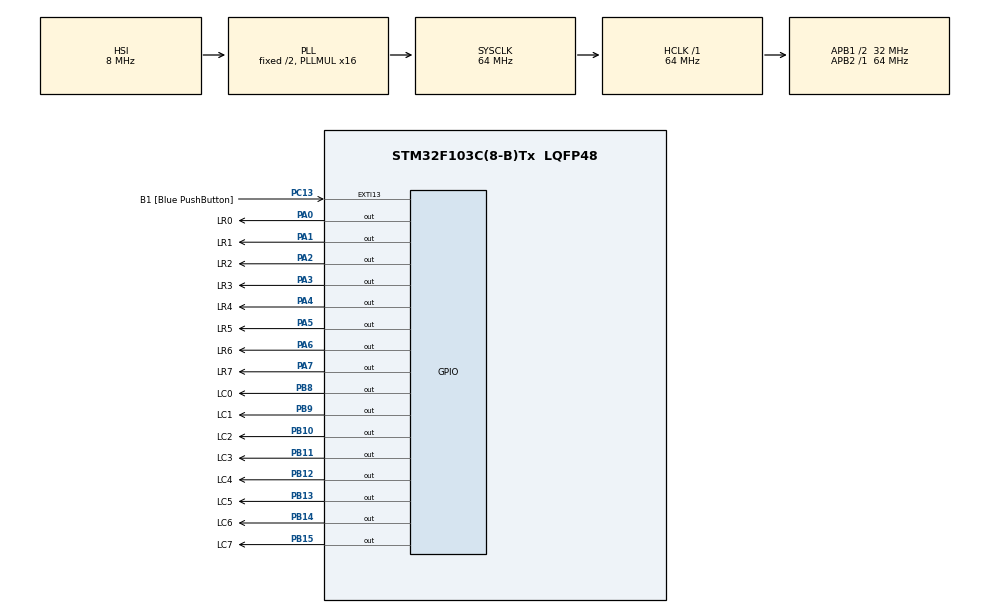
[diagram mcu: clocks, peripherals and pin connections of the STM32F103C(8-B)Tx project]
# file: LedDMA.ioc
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Dma.MEMTOMEM.0.Direction=DMA_MEMORY_TO_MEMORY
Dma.MEMTOMEM.0.Instance=DMA1_Channel1
Dma.MEMTOMEM.0.MemDataAlignment=DMA_MDATAALIGN_BYTE
Dma.MEMTOMEM.0.MemInc=DMA_MINC_DISABLE
Dma.MEMTOMEM.0.Mode=DMA_NORMAL
Dma.MEMTOMEM.0.PeriphDataAlignment=DMA_PDATAALIGN_BYTE
Dma.MEMTOMEM.0.PeriphInc=DMA_PINC_ENABLE
Dma.MEMTOMEM.0.Priority=DMA_PRIORITY_MEDIUM
Dma.MEMTOMEM.1.Direction=DMA_MEMORY_TO_MEMORY
Dma.MEMTOMEM.1.Instance=DMA1_Channel2
Dma.MEMTOMEM.1.MemDataAlignment=DMA_MDATAALIGN_HALFWORD
Dma.MEMTOMEM.1.MemInc=DMA_MINC_DISABLE
Dma.MEMTOMEM.1.Mode=DMA_NORMAL
Dma.MEMTOMEM.1.PeriphDataAlignment=DMA_PDATAALIGN_HALFWORD
Dma.MEMTOMEM.1.PeriphInc=DMA_PINC_ENABLE
Dma.MEMTOMEM.1.Priority=DMA_PRIORITY_MEDIUM
Dma.Request0=MEMTOMEM
Dma.Request1=MEMTOMEM
Mcu.Family=STM32F1
Mcu.Name=STM32F103C(8-B)Tx
Mcu.Package=LQFP48
NVIC.EXTI15_10_IRQn=true\:0\:0\:false\:false\:true
NVIC.PriorityGroup=NVIC_PRIORITYGROUP_4
PA0-WKUP.GPIO_Label=LR0
PA0-WKUP.Signal=GPIO_Output
PA1.GPIO_Label=LR1
PA1.Signal=GPIO_Output
PA13.Mode=Serial_Wire
PA13.Signal=SYS_JTMS-SWDIO
PA14.Mode=Serial_Wire
PA14.Signal=SYS_JTCK-SWCLK
PA2.GPIO_Label=LR2
PA2.Signal=GPIO_Output
PA3.GPIO_Label=LR3
PA3.Signal=GPIO_Output
PA4.GPIO_Label=LR4
PA4.Signal=GPIO_Output
PA5.GPIO_Label=LR5
PA5.Signal=GPIO_Output
PA6.GPIO_Label=LR6
PA6.Signal=GPIO_Output
PA7.GPIO_Label=LR7
PA7.Signal=GPIO_Output
PB10.GPIO_Label=LC2
PB10.Signal=GPIO_Output
PB11.GPIO_Label=LC3
PB11.Signal=GPIO_Output
PB12.GPIO_Label=LC4
PB12.Signal=GPIO_Output
PB13.GPIO_Label=LC5
PB13.Signal=GPIO_Output
PB14.GPIO_Label=LC6
PB14.Signal=GPIO_Output
PB15.GPIO_Label=LC7
PB15.Signal=GPIO_Output
PB8.GPIO_Label=LC0
PB8.Signal=GPIO_Output
PB9.GPIO_Label=LC1
PB9.Signal=GPIO_Output
PC13-TAMPER-RTC.GPIO_Label=B1 [Blue PushButton]
PC13-TAMPER-RTC.GPIO_ModeDefaultEXTI=GPIO_MODE_IT_FALLING
PC13-TAMPER-RTC.GPIO_PuPd=GPIO_NOPULL
PC13-TAMPER-RTC.Signal=GPXTI13
PC14-OSC32_IN.Mode=LSE-External-Oscillator
PC14-OSC32_IN.Signal=RCC_OSC32_IN
PC15-OSC32_OUT.Mode=LSE-External-Oscillator
PC15-OSC32_OUT.Signal=RCC_OSC32_OUT
PD0-OSC_IN.Mode=HSE-External-Oscillator
PD0-OSC_IN.Signal=RCC_OSC_IN
PD1-OSC_OUT.Mode=HSE-External-Oscillator
PD1-OSC_OUT.Signal=RCC_OSC_OUT
ProjectManager.HeapSize=0x200
ProjectManager.StackSize=0x400
ProjectManager.TargetToolchain=Makefile
RCC.AHBFreq_Value=64000000
RCC.APB1CLKDivider=RCC_HCLK_DIV2
RCC.APB1Freq_Value=32000000
RCC.APB1TimFreq_Value=64000000
RCC.APB2Freq_Value=64000000
RCC.APB2TimFreq_Value=64000000
RCC.HCLKFreq_Value=64000000
RCC.PLLMUL=RCC_PLL_MUL16
RCC.SYSCLKFreq_VALUE=64000000
RCC.SYSCLKSource=RCC_SYSCLKSOURCE_PLLCLK
RCC.USBFreq_Value=64000000
board=LedDMA

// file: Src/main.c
/**
  ******************************************************************************
  * File Name          : main.c
  * Description        : Main program body
  ******************************************************************************
  ** This notice applies to any and all portions of this file
  * that are not between comment pairs USER CODE BEGIN and
  * USER CODE END. Other portions of this file, whether
  * inserted by the user or by software development tools
  * are owned by their respective copyright owners.
  *
  * COPYRIGHT(c) 2018 STMicroelectronics
  *
  * Redistribution and use in source and binary forms, with or without modification,
  * are permitted provided that the following conditions are met:
  *   1. Redistributions of source code must retain the above copyright notice,
  *      this list of conditions and the following disclaimer.
  *   2. Redistributions in binary form must reproduce the above copyright notice,
  *      this list of conditions and the following disclaimer in the documentation
  *      and/or other materials provided with the distribution.
  *   3. Neither the name of STMicroelectronics nor the names of its contributors
  *      may be used to endorse or promote products derived from this software
  *      without specific prior written permission.
  *
  * THIS SOFTWARE IS PROVIDED BY THE COPYRIGHT HOLDERS AND CONTRIBUTORS "AS IS"
  * AND ANY EXPRESS OR IMPLIED WARRANTIES, INCLUDING, BUT NOT LIMITED TO, THE
  * IMPLIED WARRANTIES OF MERCHANTABILITY AND FITNESS FOR A PARTICULAR PURPOSE ARE
  * DISCLAIMED. IN NO EVENT SHALL THE COPYRIGHT HOLDER OR CONTRIBUTORS BE LIABLE
  * FOR ANY DIRECT, INDIRECT, INCIDENTAL, SPECIAL, EXEMPLARY, OR CONSEQUENTIAL
  * DAMAGES (INCLUDING, BUT NOT LIMITED TO, PROCUREMENT OF SUBSTITUTE GOODS OR
  * SERVICES; LOSS OF USE, DATA, OR PROFITS; OR BUSINESS INTERRUPTION) HOWEVER
  * CAUSED AND ON ANY THEORY OF LIABILITY, WHETHER IN CONTRACT, STRICT LIABILITY,
  * OR TORT (INCLUDING NEGLIGENCE OR OTHERWISE) ARISING IN ANY WAY OUT OF THE USE
  * OF THIS SOFTWARE, EVEN IF ADVISED OF THE POSSIBILITY OF SUCH DAMAGE.
  *
  ******************************************************************************
  */
#include "main.h"
#include "stm32f1xx_hal.h"
#include "dma.h"
#include "gpio.h"

/* USER CODE BEGIN PV */
/* Private variables ---------------------------------------------------------*/

/* USER CODE END PV */

void SystemClock_Config(void);

/* USER CODE BEGIN PFP */
/* Private function prototypes -----------------------------------------------*/
#define DELAYTIME 20
/* USER CODE END PFP */

/* USER CODE BEGIN 0 */
// I use PB_8 to P_B15 instead of P_B0 to P_B7, so 0x0100 instead of 0x03.
const uint16_t iobuffer64[512] =
{
  0x0100, 0x0100, 0x0100, 0x0100, 0x0100, 0x0100, 0x0100, 0x0100, 0x0100, 0x0100, 0x0100, 0x0100, 0x0100, 0x0100, 0x0100, 0x0100,0x0100, 0x0100, 0x0100, 0x0100, 0x0100, 0x0100, 0x0100, 0x0100, 0x0100, 0x0100, 0x0100, 0x0100, 0x0100, 0x0100, 0x0100, 0x0100,0x0100, 0x0100, 0x0100, 0x0100, 0x0100, 0x0100, 0x0100, 0x0100, 0x0100, 0x0100, 0x0100, 0x0100, 0x0100, 0x0100, 0x0100, 0x0100,0x0100, 0x0100, 0x0100, 0x0100, 0x0100, 0x0100, 0x0100, 0x0100, 0x0100, 0x0100, 0x0100, 0x0100, 0x0100, 0x0100, 0x0100, 0x0100,
  0x0200, 0x0200, 0x0200, 0x0200, 0x0200, 0x0200, 0x0200, 0x0200, 0x0200, 0x0200, 0x0200, 0x0200, 0x0200, 0x0200, 0x0200, 0x0200,0x0200, 0x0200, 0x0200, 0x0200, 0x0200, 0x0200, 0x0200, 0x0200, 0x0200, 0x0200, 0x0200, 0x0200, 0x0200, 0x0200, 0x0200, 0x0200,0x0200, 0x0200, 0x0200, 0x0200, 0x0200, 0x0200, 0x0200, 0x0200, 0x0200, 0x0200, 0x0200, 0x0200, 0x0200, 0x0200, 0x0200, 0x0200,0x0200, 0x0200, 0x0200, 0x0200, 0x0200, 0x0200, 0x0200, 0x0200, 0x0200, 0x0200, 0x0200, 0x0200, 0x0200, 0x0200, 0x0200, 0x0200,
  0x0400, 0x0400, 0x0400, 0x0400, 0x0400, 0x0400, 0x0400, 0x0400, 0x0400, 0x0400, 0x0400, 0x0400, 0x0400, 0x0400, 0x0400, 0x0400,0x0400, 0x0400, 0x0400, 0x0400, 0x0400, 0x0400, 0x0400, 0x0400, 0x0400, 0x0400, 0x0400, 0x0400, 0x0400, 0x0400, 0x0400, 0x0400,0x0400, 0x0400, 0x0400, 0x0400, 0x0400, 0x0400, 0x0400, 0x0400, 0x0400, 0x0400, 0x0400, 0x0400, 0x0400, 0x0400, 0x0400, 0x0400,0x0400, 0x0400, 0x0400, 0x0400, 0x0400, 0x0400, 0x0400, 0x0400, 0x0400, 0x0400, 0x0400, 0x0400, 0x0400, 0x0400, 0x0400, 0x0400,
  0x0800, 0x0800, 0x0800, 0x0800, 0x0800, 0x0800, 0x0800, 0x0800, 0x0800, 0x0800, 0x0800, 0x0800, 0x0800, 0x0800, 0x0800, 0x0800,0x0800, 0x0800, 0x0800, 0x0800, 0x0800, 0x0800, 0x0800, 0x0800, 0x0800, 0x0800, 0x0800, 0x0800, 0x0800, 0x0800, 0x0800, 0x0800,0x0800, 0x0800, 0x0800, 0x0800, 0x0800, 0x0800, 0x0800, 0x0800, 0x0800, 0x0800, 0x0800, 0x0800, 0x0800, 0x0800, 0x0800, 0x0800,0x0800, 0x0800, 0x0800, 0x0800, 0x0800, 0x0800, 0x0800, 0x0800, 0x0800, 0x0800, 0x0800, 0x0800, 0x0800, 0x0800, 0x0800, 0x0800,
  0x1000, 0x1000, 0x1000, 0x1000, 0x1000, 0x1000, 0x1000, 0x1000, 0x1000, 0x1000, 0x1000, 0x1000, 0x1000, 0x1000, 0x1000, 0x1000,0x1000, 0x1000, 0x1000, 0x1000, 0x1000, 0x1000, 0x1000, 0x1000, 0x1000, 0x1000, 0x1000, 0x1000, 0x1000, 0x1000, 0x1000, 0x1000,0x1000, 0x1000, 0x1000, 0x1000, 0x1000, 0x1000, 0x1000, 0x1000, 0x1000, 0x1000, 0x1000, 0x1000, 0x1000, 0x1000, 0x1000, 0x1000,0x1000, 0x1000, 0x1000, 0x1000, 0x1000, 0x1000, 0x1000, 0x1000, 0x1000, 0x1000, 0x1000, 0x1000, 0x1000, 0x1000, 0x1000, 0x1000,
  0x2000, 0x2000, 0x2000, 0x2000, 0x2000, 0x2000, 0x2000, 0x2000, 0x2000, 0x2000, 0x2000, 0x2000, 0x2000, 0x2000, 0x2000, 0x2000,0x2000, 0x2000, 0x2000, 0x2000, 0x2000, 0x2000, 0x2000, 0x2000, 0x2000, 0x2000, 0x2000, 0x2000, 0x2000, 0x2000, 0x2000, 0x2000,0x2000, 0x2000, 0x2000, 0x2000, 0x2000, 0x2000, 0x2000, 0x2000, 0x2000, 0x2000, 0x2000, 0x2000, 0x2000, 0x2000, 0x2000, 0x2000,0x2000, 0x2000, 0x2000, 0x2000, 0x2000, 0x2000, 0x2000, 0x2000, 0x2000, 0x2000, 0x2000, 0x2000, 0x2000, 0x2000, 0x2000, 0x2000,
  0x4000, 0x4000, 0x4000, 0x4000, 0x4000, 0x4000, 0x4000, 0x4000, 0x4000, 0x4000, 0x4000, 0x4000, 0x4000, 0x4000, 0x4000, 0x4000,0x4000, 0x4000, 0x4000, 0x4000, 0x4000, 0x4000, 0x4000, 0x4000, 0x4000, 0x4000, 0x4000, 0x4000, 0x4000, 0x4000, 0x4000, 0x4000,0x4000, 0x4000, 0x4000, 0x4000, 0x4000, 0x4000, 0x4000, 0x4000, 0x4000, 0x4000, 0x4000, 0x4000, 0x4000, 0x4000, 0x4000, 0x4000,0x4000, 0x4000, 0x4000, 0x4000, 0x4000, 0x4000, 0x4000, 0x4000, 0x4000, 0x4000, 0x4000, 0x4000, 0x4000, 0x4000, 0x4000, 0x4000,
  0x8000, 0x8000, 0x8000, 0x8000, 0x8000, 0x8000, 0x8000, 0x8000, 0x8000, 0x8000, 0x8000, 0x8000, 0x8000, 0x8000, 0x8000, 0x8000,0x8000, 0x8000, 0x8000, 0x8000, 0x8000, 0x8000, 0x8000, 0x8000, 0x8000, 0x8000, 0x8000, 0x8000, 0x8000, 0x8000, 0x8000, 0x8000,0x8000, 0x8000, 0x8000, 0x8000, 0x8000, 0x8000, 0x8000, 0x8000, 0x8000, 0x8000, 0x8000, 0x8000, 0x8000, 0x8000, 0x8000, 0x8000,0x8000, 0x8000, 0x8000, 0x8000, 0x8000, 0x8000, 0x8000, 0x8000, 0x8000, 0x8000, 0x8000, 0x8000, 0x8000, 0x8000, 0x8000, 0x8000
};

uint8_t bufin[8][8] =
{
  {0x03,0x05,0x7,0x10,0x19,0x1F,0x2F,0x3F},
  {0x03,0x05,0x7,0x10,0x19,0x1F,0x2F,0x3F},
  {0x03,0x05,0x7,0x10,0x19,0x1F,0x2F,0x3F},
  {0x03,0x05,0x7,0x10,0x19,0x1F,0x2F,0x3F},
  {0x03,0x05,0x7,0x10,0x19,0x1F,0x2F,0x3F},
  {0x03,0x05,0x7,0x10,0x19,0x1F,0x2F,0x3F},
  {0x03,0x05,0x7,0x10,0x19,0x1F,0x2F,0x3F},
  {0x03,0x05,0x7,0x10,0x19,0x1F,0x2F,0x3F}
};

uint8_t bufout[512] = {0};

// Converts the normal 8*8 array to one that the DMA understands.
void convertarray(uint8_t arrout[], uint8_t arrin[], uint8_t X, uint8_t Y, uint8_t bits)
{
  uint64_t TempArr[8] = {0};
  uint16_t bitsPow2 = 1<<bits;
  uint16_t bitsPowminus = bitsPow2-1;

  for(int x = 0; x < 8; x++)
  {
    for(int i = 0; i < 8; i++)
    {
      TempArr[i] = (((uint64_t)1<<(uint64_t)arrin[(x*8)+i])-1);
    }
    //--
    for(int i = 0; i < bitsPow2; i++)
    {
      arrout[(x*bitsPow2)+i] = ((TempArr[0]>>(bitsPowminus-i)&1)<<7);
      arrout[(x*bitsPow2)+i] += ((TempArr[1]>>(bitsPowminus-i)&1)<<6);
      arrout[(x*bitsPow2)+i] += ((TempArr[2]>>(bitsPowminus-i)&1)<<5);
      arrout[(x*bitsPow2)+i] += ((TempArr[3]>>(bitsPowminus-i)&1)<<4);
      arrout[(x*bitsPow2)+i] += ((TempArr[4]>>(bitsPowminus-i)&1)<<3);
      arrout[(x*bitsPow2)+i] += ((TempArr[5]>>(bitsPowminus-i)&1)<<2);
      arrout[(x*bitsPow2)+i] += ((TempArr[6]>>(bitsPowminus-i)&1)<<1);
      arrout[(x*bitsPow2)+i] += ((TempArr[7]>>(bitsPowminus-i)&1));
    }
    //--
  }
  //--
}

//--
// Shift all datapoints in the 8*8 array one place left.
void left_rotate(uint8_t array[8][8])
{
  for(int i = 0; i < 8; i++)
  {
    uint8_t temp = array[i][0];
    for(int n = 0; n < 8; n++)
    {
      array[i][n] = array[i][n+1];
    }
    //--
    array[i][7] = temp;
  }
}

//--
void calcpulse(uint8_t array[8][8])
{
  static uint8_t rings[4] = {60, 50, 40, 30};
  for(int i = 0; i < 4; i++)
  {
    rings[i]--;
    if(rings[i] == 15)
    {
      rings[i] = 64;
    }
    //--
  }
  //--
  for(int i = 0; i < 8*8; i++)
  {
    array[i/8][i%8] = rings[0];
  }
  //--
  for(int i = 0; i < 6*6; i++)
  {
    array[1+(i/6)][1+(i%6)] = rings[1];
  }
  //--
  for(int i = 0; i < 4*4; i++)
  {
    array[2+(i/4)][2+(i%4)] = rings[2];
  }
  //--
  for(int i = 0; i < 2*2; i++)
  {
    array[3+(i/2)][3+(i%2)] = rings[3];
  }
  //--
}

// the HAL_DMA_SetReady function can be used. It only setups the DMA so the quick method of just setting the
// enable bit can be used to start the DMA
HAL_StatusTypeDef HAL_DMA_SetReady(DMA_HandleTypeDef *hdma, uint32_t SrcAddress, uint32_t DstAddress, uint32_t DataLength)
{
  /* Process locked */
  __HAL_LOCK(hdma);
  //--
  /* Change DMA peripheral state */
  hdma->State = HAL_DMA_STATE_BUSY;
  //--
  /* Check the parameters */
  assert_param(IS_DMA_BUFFER_SIZE(DataLength));
  //--
  /* Disable the peripheral */
  __HAL_DMA_DISABLE(hdma);
  //--
  /* Configure the source, destination address and the data length */
  /* Configure DMA Channel data length */
  hdma->Instance->CNDTR = DataLength;
  //--
  /* Peripheral to Memory */
  if((hdma->Init.Direction) == DMA_MEMORY_TO_PERIPH)
  {
    /* Configure DMA Channel destination address */
    hdma->Instance->CPAR = DstAddress;
    /* Configure DMA Channel source address */
    hdma->Instance->CMAR = SrcAddress;
  }
  //--
  /* Memory to Peripheral */
  else
  {
    /* Configure DMA Channel source address */
    hdma->Instance->CPAR = SrcAddress;
    //--
    /* Configure DMA Channel destination address */
    hdma->Instance->CMAR = DstAddress;
  }
  //--
  return HAL_OK;
}

//--
/* USER CODE END 0 */

int main(void)
{

  /* MCU Configuration----------------------------------------------------------*/

  /* Reset of all peripherals, Initializes the Flash interface and the Systick. */
  HAL_Init();

  /* Configure the system clock */
  SystemClock_Config();

  /* Initialize all configured peripherals */
  MX_GPIO_Init();
  MX_DMA_Init();

  /* USER CODE BEGIN 2 */
  // Set the DMA to transfer data from ledbug1/iobuffer64 to the GPIOA and GPIOB register
  HAL_DMA_SetReady(&hdma_memtomem_dma1_channel1, (uint32_t *)bufout, &GPIOA->ODR, 512);
  HAL_DMA_SetReady(&hdma_memtomem_dma1_channel2, (uint32_t *)iobuffer64, &GPIOB->ODR, 512);
  DMA1_Channel1->CCR |= 0x01;
  DMA1_Channel2->CCR |= 0x01;
  /* USER CODE END 2 */

  /* Infinite loop */
  /* USER CODE BEGIN WHILE */
  while (1)
  {
    calcpulse(bufin);
    // left_rotate(bufin);
    convertarray(bufout, (uint8_t*)bufin, 8, 8, 6);
    HAL_Delay(DELAYTIME);
  /* USER CODE END WHILE */

  /* USER CODE BEGIN 3 */
  }
  //--
  /* USER CODE END 3 */

}

/** System Clock Configuration
*/
void SystemClock_Config(void)
{

  RCC_OscInitTypeDef RCC_OscInitStruct;
  RCC_ClkInitTypeDef RCC_ClkInitStruct;

    /**Initializes the CPU, AHB and APB busses clocks
    */
  RCC_OscInitStruct.OscillatorType = RCC_OSCILLATORTYPE_HSI;
  RCC_OscInitStruct.HSIState = RCC_HSI_ON;
  RCC_OscInitStruct.HSICalibrationValue = 16;
  RCC_OscInitStruct.PLL.PLLState = RCC_PLL_ON;
  RCC_OscInitStruct.PLL.PLLSource = RCC_PLLSOURCE_HSI_DIV2;
  RCC_OscInitStruct.PLL.PLLMUL = RCC_PLL_MUL16;
  if (HAL_RCC_OscConfig(&RCC_OscInitStruct) != HAL_OK)
  {
    _Error_Handler(__FILE__, __LINE__);
  }

    /**Initializes the CPU, AHB and APB busses clocks
    */
  RCC_ClkInitStruct.ClockType = RCC_CLOCKTYPE_HCLK|RCC_CLOCKTYPE_SYSCLK
                              |RCC_CLOCKTYPE_PCLK1|RCC_CLOCKTYPE_PCLK2;
  RCC_ClkInitStruct.SYSCLKSource = RCC_SYSCLKSOURCE_PLLCLK;
  RCC_ClkInitStruct.AHBCLKDivider = RCC_SYSCLK_DIV1;
  RCC_ClkInitStruct.APB1CLKDivider = RCC_HCLK_DIV2;
  RCC_ClkInitStruct.APB2CLKDivider = RCC_HCLK_DIV1;

  if (HAL_RCC_ClockConfig(&RCC_ClkInitStruct, FLASH_LATENCY_2) != HAL_OK)
  {
    _Error_Handler(__FILE__, __LINE__);
  }

    /**Configure the Systick interrupt time
    */
  HAL_SYSTICK_Config(HAL_RCC_GetHCLKFreq()/1000);

    /**Configure the Systick
    */
  HAL_SYSTICK_CLKSourceConfig(SYSTICK_CLKSOURCE_HCLK);

  /* SysTick_IRQn interrupt configuration */
  HAL_NVIC_SetPriority(SysTick_IRQn, 0, 0);
}

void _Error_Handler(char * file, int line)
{
  while(1)
  {
  }
}

/************************ (C) COPYRIGHT STMicroelectronics *****END OF FILE****/
